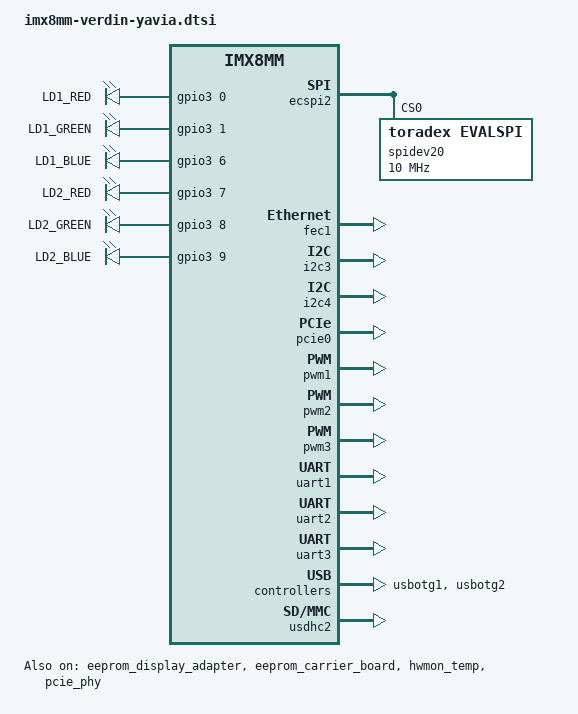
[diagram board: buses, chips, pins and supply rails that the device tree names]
// SPDX-License-Identifier: GPL-2.0-or-later OR MIT
/*
 * Copyright 2022 Toradex
 */

/ {
	leds {
		compatible = "gpio-leds";

		pinctrl-names = "default";
		pinctrl-0 = <&pinctrl_leds_yavia>;

		/* SODIMM 52 */
		led1-red {
			label = "LD1_RED";
			gpios = <&gpio3 0 GPIO_ACTIVE_HIGH>;
		};
		/* SODIMM 54 */
		led1-green {
			label = "LD1_GREEN";
			gpios = <&gpio3 1 GPIO_ACTIVE_HIGH>;
		};
		/* SODIMM 56 */
		led1-blue {
			label = "LD1_BLUE";
			gpios = <&gpio3 6 GPIO_ACTIVE_HIGH>;
		};
		/* SODIMM 58 */
		led2-red {
			label = "LD2_RED";
			gpios = <&gpio3 7 GPIO_ACTIVE_HIGH>;
		};
		/* SODIMM 60 */
		led2-green {
			label = "LD2_GREEN";
			gpios = <&gpio3 8 GPIO_ACTIVE_HIGH>;
		};
		/* SODIMM 62 */
		led2-blue {
			label = "LD2_BLUE";
			gpios = <&gpio3 9 GPIO_ACTIVE_HIGH>;
		};
	};
};

/* Verdin SPI_1 */
&ecspi2 {
	status = "okay";
	
	spidev20: spidev@0 {
		compatible = "toradex,evalspi";
		reg = <0>;
		spi-max-frequency = <10000000>;
		status = "okay";
	};
};	

/* EEPROM on display adapter boards */
&eeprom_display_adapter {
	status = "okay";
};

/* EEPROM on Verdin yavia board */
&eeprom_carrier_board {
	status = "okay";
};

&fec1 {
	status = "okay";
};

&gpio3 {
	pinctrl-names = "default";
	pinctrl-0 = <&pinctrl_gpios_ext_yavia>;
};

&hwmon_temp {
	status = "okay";
};

&i2c3 {
	status = "okay";
};

/* Verdin I2C_1 */
&i2c4 {
	status = "okay";
};

/* Verdin PCIE_1 */
&pcie0 {
	status = "okay";
};

&pcie_phy {
	status = "okay";
};

/* Verdin PWM_3_DSI */
&pwm1 {
	status = "okay";
};

/* Verdin PWM_1 */
&pwm2 {
	status = "okay";
};

/* Verdin PWM_2 */
&pwm3 {
	status = "okay";
};

/* Verdin UART_3 */
&uart1 {
	status = "okay";
};

/* Verdin UART_1 */
&uart2 {
	status = "okay";
};

/* Verdin UART_2 */
&uart3 {
	status = "okay";
};

/* Verdin USB_1 */
&usbotg1 {
	status = "okay";
};

/* Verdin USB_2 */
&usbotg2 {
	status = "okay";
};

/* Verdin SD_1 */
&usdhc2 {
	status = "okay";
};

&iomuxc {
	pinctrl_leds_yavia: ledsyaviagrp {
		fsl,pins = <
			MX8MM_IOMUXC_NAND_ALE_GPIO3_IO0		0x106	/* SODIMM 52 */
			MX8MM_IOMUXC_NAND_CE0_B_GPIO3_IO1	0x106	/* SODIMM 54 */
			MX8MM_IOMUXC_NAND_DATA00_GPIO3_IO6	0x106	/* SODIMM 56 */
			MX8MM_IOMUXC_NAND_DATA01_GPIO3_IO7	0x106	/* SODIMM 58 */
			MX8MM_IOMUXC_NAND_DATA02_GPIO3_IO8	0x106	/* SODIMM 60 */
			MX8MM_IOMUXC_NAND_DATA03_GPIO3_IO9	0x106	/* SODIMM 62 */
		>;
	};

	pinctrl_gpios_ext_yavia: gpiosextyaviagrp {
		fsl,pins = <
			MX8MM_IOMUXC_NAND_CE1_B_GPIO3_IO2	0x106	/* SODIMM 64 */
			MX8MM_IOMUXC_NAND_DQS_GPIO3_IO14	0x106	/* SODIMM 66 */
		>;
	};
};
